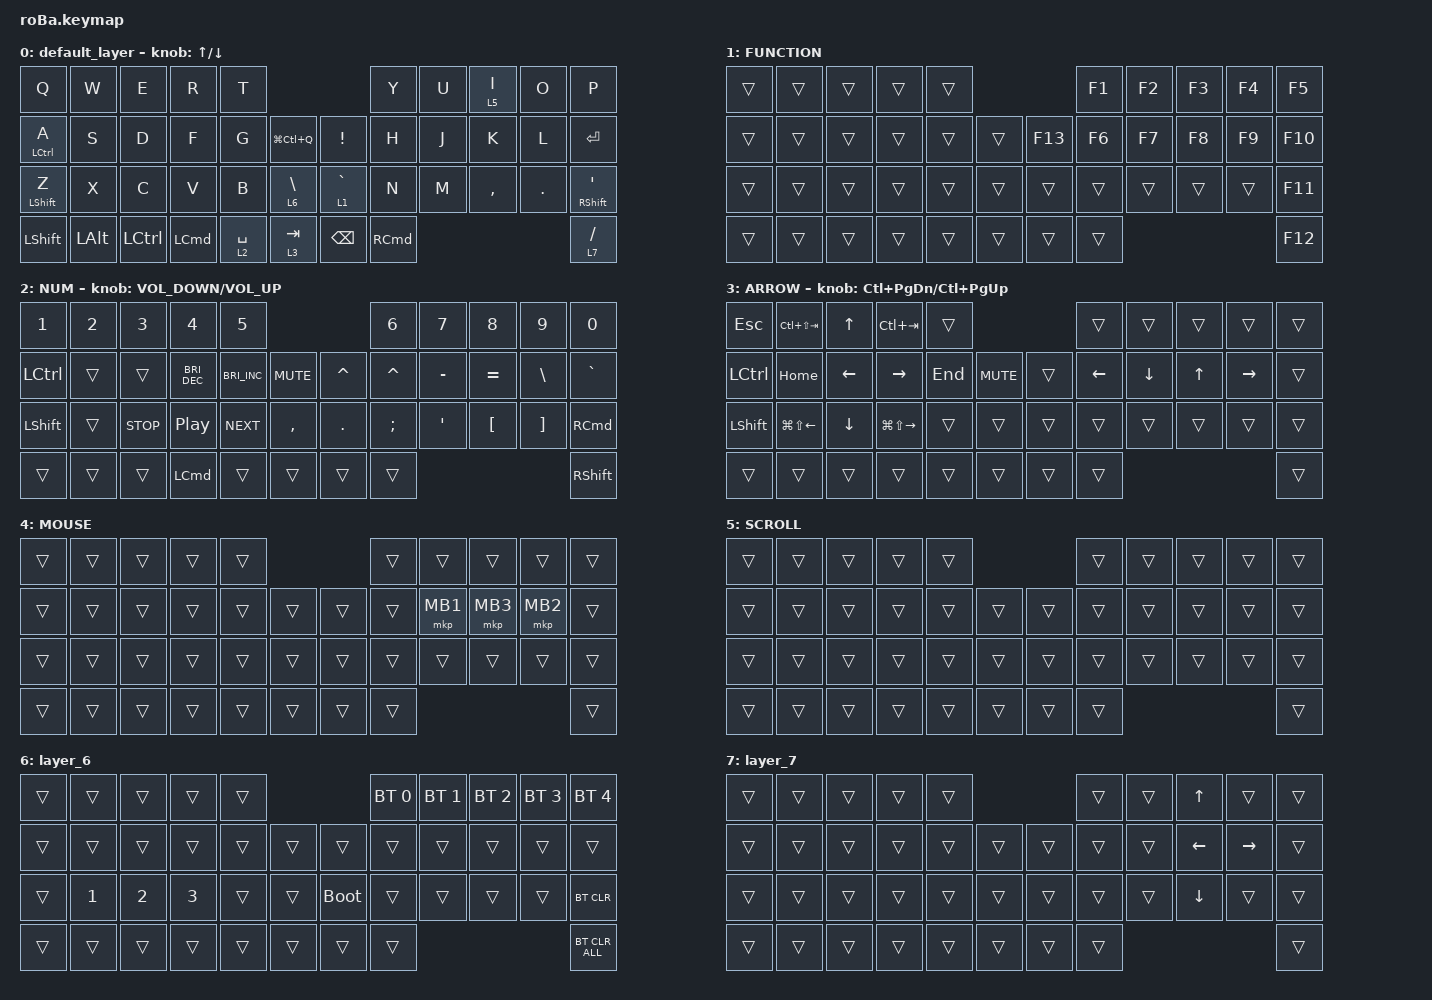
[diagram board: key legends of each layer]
#include <behaviors.dtsi>
#include <dt-bindings/zmk/bt.h>
#include <dt-bindings/zmk/keys.h>
#include <dt-bindings/zmk/pointing.h>

&mt {
    flavor = "balanced";
    quick-tap-ms = <0>;
};

&trackball {
    automouse-layer = <4>;
    scroll-layers = <5>;

    desktop_swipe {
        layers = <2>;
        bindings =
            <&kp LC(LEFT_ARROW)>,
            <&kp LC(RIGHT_ARROW)>,
            <&kp LC(UP_ARROW)>,
            <&kp LC(DOWN_ARROW)>;
        tick = <80>;
        wait-ms = <150>;
        tap-ms = <20>;
    };

    notification_center_swipe {
        layers = <3>;
        bindings =
            <&kp LC(LA(LG(N)))>,
            <&none>,
            <&none>,
            <&none>;
        tick = <120>;
        wait-ms = <200>;
        tap-ms = <20>;
    };
};

/ {
    combos {
        compatible = "zmk,combos";

        tab {
            bindings = <&kp TAB>;
            key-positions = <11 10>;
        };

        shift_tab {
            bindings = <&kp LS(TAB)>;
            key-positions = <12 11>;
        };

        eq {
            bindings = <&kp EQUAL>;
            key-positions = <8 9>;
        };

        esc {
            bindings = <&kp ESCAPE>;
            key-positions = <0 1>;
        };

        minus {
            bindings = <&kp MINUS>;
            key-positions = <8 7>;
        };

        semicolon {
            bindings = <&kp SEMICOLON>;
            key-positions = <19 18>;
        };

        slash {
            bindings = <&kp SLASH>;
            key-positions = <32 31>;
        };

        left_blacket {
            bindings = <&kp LEFT_BRACKET>;
            key-positions = <19 20>;
        };

        right_blacket {
            bindings = <&kp RIGHT_BRACKET>;
            key-positions = <20 21>;
        };
    };

    macros {
        to_layer_0: to_layer_0 {
            compatible = "zmk,behavior-macro-one-param";
            #binding-cells = <1>;
            bindings = <&to 0 &macro_param_1to1 &kp MACRO_PLACEHOLDER>;
            label = "TO_LAYER_0";
        };
    };

    behaviors {
        lt_to_layer_0: lt_to_layer_0 {
            compatible = "zmk,behavior-hold-tap";
            label = "LAYER_TAP_TO_0";
            bindings = <&mo>, <&to_layer_0>;

            #binding-cells = <2>;
            tapping-term-ms = <200>;
        };
    };

    keymap {
        compatible = "zmk,keymap";

        default_layer {
            bindings = <
&kp Q               &kp W         &kp E             &kp R             &kp T                                                   &kp Y              &kp U  &lt 5 I    &kp O    &kp P
&mt LEFT_CONTROL A  &kp S         &kp D             &kp F             &kp G        &kp LG(LC(Q))             &kp EXCLAMATION  &kp H              &kp J  &kp K      &kp L    &kp ENTER
&mt LEFT_SHIFT Z    &kp X         &kp C             &kp V             &kp B        &lt 6 BACKSLASH           &lt 1 GRAVE      &kp N              &kp M  &kp COMMA  &kp DOT  &mt RIGHT_SHIFT SQT
&kp LEFT_SHIFT      &kp LEFT_ALT  &kp LEFT_CONTROL  &kp LEFT_COMMAND  &lt 2 SPACE  &lt_to_layer_0 3 TAB      &kp BACKSPACE    &kp RIGHT_COMMAND                             &lt 7 SLASH
            >;

            sensor-bindings = <&inc_dec_kp UP_ARROW DOWN_ARROW>;
        };

        FUNCTION {
            bindings = <
&trans  &trans  &trans  &trans  &trans                       &kp F1  &kp F2  &kp F3  &kp F4  &kp F5
&trans  &trans  &trans  &trans  &trans  &trans      &kp F13  &kp F6  &kp F7  &kp F8  &kp F9  &kp F10
&trans  &trans  &trans  &trans  &trans  &trans      &trans   &trans  &trans  &trans  &trans  &kp F11
&trans  &trans  &trans  &trans  &trans  &trans      &trans   &trans                          &kp F12
            >;
        };

        NUM {
            bindings = <
&kp N1            &kp N2  &kp N3      &kp N4                &kp N5                                           &kp N6     &kp N7     &kp N8     &kp N9    &kp N0
&kp LEFT_CONTROL  &trans  &trans      &kp C_BRIGHTNESS_DEC  &kp C_BRIGHTNESS_INC  &kp K_MUTE      &kp CARET  &kp CARET  &kp MINUS  &kp EQUAL  &kp BSLH  &kp GRAVE
&kp LEFT_SHIFT    &trans  &kp C_STOP  &kp C_PLAY_PAUSE      &kp C_NEXT            &kp COMMA       &kp DOT    &kp SEMI   &kp APOS   &kp LBKT   &kp RBKT  &kp RIGHT_COMMAND
&trans            &trans  &trans      &kp LEFT_COMMAND      &trans                &trans          &trans     &trans                                     &kp RIGHT_SHIFT
            >;

            sensor-bindings = <&inc_dec_kp C_VOLUME_DOWN C_VOL_UP>;
        };

        ARROW {
            bindings = <
&kp ESCAPE      &kp LC(LS(TAB))         &kp UP_ARROW    &kp LC(TAB)              &trans                           &trans          &trans          &trans        &trans           &trans
&kp LCTRL       &kp HOME                &kp LEFT_ARROW  &kp RIGHT_ARROW          &kp END  &kp K_MUTE      &trans  &kp LEFT_ARROW  &kp DOWN_ARROW  &kp UP_ARROW  &kp RIGHT_ARROW  &trans
&kp LEFT_SHIFT  &kp LG(LS(LEFT_ARROW))  &kp DOWN_ARROW  &kp LG(LS(RIGHT_ARROW))  &trans   &trans          &trans  &trans          &trans          &trans        &trans           &trans
&trans          &trans                  &trans          &trans                   &trans   &trans          &trans  &trans                                                         &trans
            >;

            sensor-bindings = <&inc_dec_kp LC(PAGE_DOWN) LC(PAGE_UP)>;
        };

        MOUSE {
            bindings = <
&trans  &trans  &trans  &trans  &trans                      &trans  &trans    &trans    &trans    &trans
&trans  &trans  &trans  &trans  &trans  &trans      &trans  &trans  &mkp MB1  &mkp MB3  &mkp MB2  &trans
&trans  &trans  &trans  &trans  &trans  &trans      &trans  &trans  &trans    &trans    &trans    &trans
&trans  &trans  &trans  &trans  &trans  &trans      &trans  &trans                                &trans
            >;
        };

        SCROLL {
            bindings = <
&trans  &trans  &trans  &trans  &trans                      &trans  &trans  &trans  &trans  &trans
&trans  &trans  &trans  &trans  &trans  &trans      &trans  &trans  &trans  &trans  &trans  &trans
&trans  &trans  &trans  &trans  &trans  &trans      &trans  &trans  &trans  &trans  &trans  &trans
&trans  &trans  &trans  &trans  &trans  &trans      &trans  &trans                          &trans
            >;
        };

        layer_6 {
            bindings = <
&trans  &trans        &trans        &trans        &trans                           &bt BT_SEL 0  &bt BT_SEL 1  &bt BT_SEL 2  &bt BT_SEL 3  &bt BT_SEL 4
&trans  &trans        &trans        &trans        &trans  &trans      &trans       &trans        &trans        &trans        &trans        &trans
&trans  &kp NUMBER_1  &kp NUMBER_2  &kp NUMBER_3  &trans  &trans      &bootloader  &trans        &trans        &trans        &trans        &bt BT_CLR
&trans  &trans        &trans        &trans        &trans  &trans      &trans       &trans                                                  &bt BT_CLR_ALL
            >;
        };

        layer_7 {
            bindings = <
&trans  &trans  &trans  &trans  &trans                      &trans  &trans  &kp UP_ARROW    &trans           &trans
&trans  &trans  &trans  &trans  &trans  &trans      &trans  &trans  &trans  &kp LEFT_ARROW  &kp RIGHT_ARROW  &trans
&trans  &trans  &trans  &trans  &trans  &trans      &trans  &trans  &trans  &kp DOWN_ARROW  &trans           &trans
&trans  &trans  &trans  &trans  &trans  &trans      &trans  &trans                                           &trans
            >;
        };
    };
};
